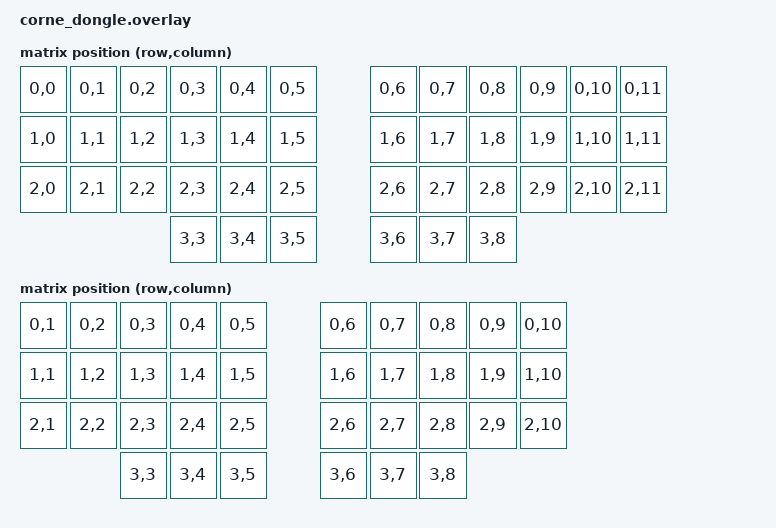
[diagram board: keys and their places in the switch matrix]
/*
 * Copyright (c) 2024 The ZMK Contributors
 * SPDX-License-Identifier: MIT
 *
 * XIAO BLE dongle for Aurora Corne keyboard
 * Named 'corne_dongle' (not 'splitkb_aurora_corne_*') to avoid prefix matching
 * with keyboard half config files. See CLAUDE.md for details.
 *
 * CRITICAL: The dongle MUST include the same physical layouts as the keyboard
 * halves, IN THE SAME ORDER. The central sends its selected layout index to
 * peripherals via GATT. Layout indices are array indices based on include order:
 *   - Index 0: 5-column (foostan_corne_5col_layout)
 *   - Index 1: 6-column (foostan_corne_6col_layout)
 *
 * If the dongle only includes 6column.dtsi, its index 0 is 6-column. But on
 * Aurora Corne peripherals, index 0 is 5-column! When dongle sends "0", the
 * peripheral incorrectly selects 5-column layout, causing -3 position offset.
 */

#include <dt-bindings/zmk/matrix_transform.h>
#include <dt-bindings/led/led.h>
/* MUST match Aurora Corne include order for correct layout index synchronization */
#include <layouts/foostan/corne/5column.dtsi>
#include <layouts/foostan/corne/6column.dtsi>

/ {
	chosen {
		zmk,kscan = &kscan0;
		zmk,physical-layout = &foostan_corne_6col_layout;
		zmk,underglow = &led_strip;
	};

	/* Matrix transform matching Aurora Corne 6-column layout (42 keys) */
	default_transform: keymap_transform_0 {
		compatible = "zmk,matrix-transform";
		columns = <12>;
		rows = <4>;
		map = <
			RC(0,0) RC(0,1) RC(0,2) RC(0,3) RC(0,4) RC(0,5)  RC(0,6) RC(0,7) RC(0,8) RC(0,9) RC(0,10) RC(0,11)
			RC(1,0) RC(1,1) RC(1,2) RC(1,3) RC(1,4) RC(1,5)  RC(1,6) RC(1,7) RC(1,8) RC(1,9) RC(1,10) RC(1,11)
			RC(2,0) RC(2,1) RC(2,2) RC(2,3) RC(2,4) RC(2,5)  RC(2,6) RC(2,7) RC(2,8) RC(2,9) RC(2,10) RC(2,11)
			                        RC(3,3) RC(3,4) RC(3,5)  RC(3,6) RC(3,7) RC(3,8)
		>;
	};

	/* Matrix transform matching Aurora Corne 5-column layout (36 keys) */
	five_column_transform: keymap_transform_1 {
		compatible = "zmk,matrix-transform";
		columns = <10>;
		rows = <4>;
		map = <
			RC(0,1) RC(0,2) RC(0,3) RC(0,4) RC(0,5)  RC(0,6) RC(0,7) RC(0,8) RC(0,9) RC(0,10)
			RC(1,1) RC(1,2) RC(1,3) RC(1,4) RC(1,5)  RC(1,6) RC(1,7) RC(1,8) RC(1,9) RC(1,10)
			RC(2,1) RC(2,2) RC(2,3) RC(2,4) RC(2,5)  RC(2,6) RC(2,7) RC(2,8) RC(2,9) RC(2,10)
			                RC(3,3) RC(3,4) RC(3,5)  RC(3,6) RC(3,7) RC(3,8)
		>;
	};

	/* Minimal kscan for dongle - no physical keys, just needs structure for ZMK */
	kscan0: kscan_0 {
		compatible = "zmk,kscan-mock";
		columns = <0>;
		rows = <0>;
		events = <0>;
	};

	/*
	 * Dummy ext_power device required by RGB underglow.
	 * Uses an unused GPIO (active-high so default low = off).
	 * Label is 'ext_power_dongle' to avoid conflict with ZMK's built-in &ext_power behavior.
	 */
	ext_power_dongle: ext_power_0 {
		compatible = "zmk,ext-power-generic";
		init-delay-ms = <50>;
		control-gpios = <&gpio0 3 GPIO_ACTIVE_HIGH>; /* Unused GPIO P0.03 */
	};
};

/* Link physical layouts to transforms - MUST match Aurora Corne configuration */
&foostan_corne_5col_layout {
	transform = <&five_column_transform>;
};

&foostan_corne_6col_layout {
	transform = <&default_transform>;
};

/* Disable NFC for Zephyr 4.1+ compatibility with XIAO BLE */
&nfct {
	status = "disabled";
};

/*
 * Dummy LED strip for RGB underglow behavior support.
 * The dongle has no physical LEDs, but needs this to:
 * 1. Compile &rgb_ug behaviors in keymap
 * 2. Sync RGB state to keyboard half peripherals
 * Uses an unused GPIO (P0.02) with chain-length=1.
 */
&spi2 {
	compatible = "nordic,nrf-spim";
	status = "okay";
	pinctrl-0 = <&spi2_default>;
	pinctrl-1 = <&spi2_sleep>;
	pinctrl-names = "default", "sleep";

	led_strip: ws2812@0 {
		compatible = "worldsemi,ws2812-spi";
		reg = <0>;
		spi-max-frequency = <4000000>;
		chain-length = <1>;
		spi-one-frame = <0x70>;
		spi-zero-frame = <0x40>;
		color-mapping = <LED_COLOR_ID_GREEN LED_COLOR_ID_RED LED_COLOR_ID_BLUE>;
	};
};

&pinctrl {
	spi2_default: spi2_default {
		group1 {
			psels = <NRF_PSEL(SPIM_MOSI, 0, 2)>; /* Unused GPIO P0.02 */
		};
	};
	spi2_sleep: spi2_sleep {
		group1 {
			psels = <NRF_PSEL(SPIM_MOSI, 0, 2)>;
			low-power-enable;
		};
	};
};

&i2c1 {
	status = "disabled";
};
